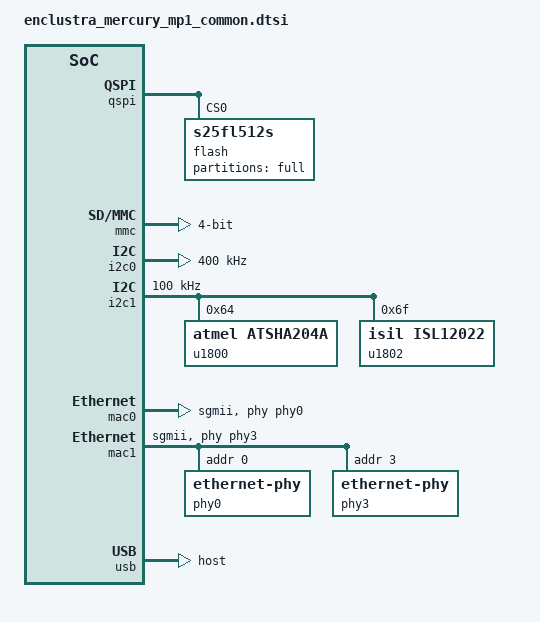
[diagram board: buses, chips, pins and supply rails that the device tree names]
// SPDX-License-Identifier: (GPL-2.0+ OR MIT)
/*
 * Copyright (C) 2022 Enclustra GmbH
 * <info@enclustra.com>
 */

#include "microchip-mpfs.dtsi"

/* Clock frequency (in Hz) of the rtcclk */
#define RTCCLK_FREQ		1000000

/ {
	compatible = "microchip,mpfs";

	aliases {
		mmuart1 = &mmuart1;
		ethernet0 = &mac1;
		ethernet1 = &mac0;
		i2c0 = &i2c0;
		i2c1 = &i2c1;
		spi0 = &qspi;
	};

	chosen {
		stdout-path = "mmuart1:115200n8";
	};

	cpus {
		timebase-frequency = <RTCCLK_FREQ>;
	};

	/* Not that label is called uart1 in U-Boot devicetree
	   but mmuart1 in kernel devicetree */
	soc {
		mmuart1: serial@20100000 {
			status = "okay";
		};
	};
};

&qspi {
	status = "okay";
	flash@0 {
		#address-cells = <0x1>;
		#size-cells = <0x1>;
		compatible = "s25fl512s";
		reg = <0x0>;
		partition@full {
			label = "full";
			reg = <0x0 0x4000000>;
		};
	};
};

&mmc {
	status = "okay";

	bus-width = <4>;
	disable-wp;
	no-1-8-v;
	cap-mmc-highspeed;
	cap-sd-highspeed;
	card-detect-delay = <200>;
};

/* FPGA Fabric I2C - this I2C bus is connected to the MSS I2C bus on hardware */
&i2c0 {
	status = "okay";
	clock-frequency = <400000>;
};

/* MSS I2C */
&i2c1 {
	status = "okay";
	clock-frequency = <100000>;

	u1800: atsha204a@64 {
		status = "okay";
		compatible = "atmel,atsha204a";
		reg = <0x64>;
	};

	u1802: isl12022@6f {
		status = "okay";
		compatible = "isil,isl12022";
		reg = <0x6f>;
	};
};

&mac0 {
	status = "okay";
	/delete-property/ mac-address;
	/delete-property/ local-mac-address;
	phy-mode = "sgmii";
	phy-handle = <&phy0>;
};

&mac1 {
	status = "okay";
	/delete-property/ mac-address;
	/delete-property/ local-mac-address;
	phy-mode = "sgmii";
	phy-handle = <&phy3>;

	phy0: ethernet-phy@0 {
		reg = <0>;
	};
	phy3: ethernet-phy@3 {
		reg = <3>;
	};
};

&usb {
	dr_mode = "host";
	status = "okay";
};

&gpio0 {
	status = "okay";
	ngpios = <14>;
	interrupts =   <PLIC_INT_GPIO0_BIT0_OR_GPIO2_BIT0
			PLIC_INT_GPIO0_BIT1_OR_GPIO2_BIT1
			PLIC_INT_GPIO0_BIT2_OR_GPIO2_BIT2
			PLIC_INT_GPIO0_BIT3_OR_GPIO2_BIT3
			PLIC_INT_GPIO0_BIT4_OR_GPIO2_BIT4
			PLIC_INT_GPIO0_BIT5_OR_GPIO2_BIT5
			PLIC_INT_GPIO0_BIT6_OR_GPIO2_BIT6
			PLIC_INT_GPIO0_BIT7_OR_GPIO2_BIT7
			PLIC_INT_GPIO0_BIT8_OR_GPIO2_BIT8
			PLIC_INT_GPIO0_BIT9_OR_GPIO2_BIT9
			PLIC_INT_GPIO0_BIT10_OR_GPIO2_BIT10
			PLIC_INT_GPIO0_BIT11_OR_GPIO2_BIT11
			PLIC_INT_GPIO0_BIT12_OR_GPIO2_BIT12
			PLIC_INT_GPIO0_BIT13_OR_GPIO2_BIT13>;
};

&gpio1 {
	status = "okay";
	ngpios = <24>;
	interrupts =   <PLIC_INT_GPIO1_BIT0_OR_GPIO2_BIT14
			PLIC_INT_GPIO1_BIT1_OR_GPIO2_BIT15
			PLIC_INT_GPIO1_BIT2_OR_GPIO2_BIT16
			PLIC_INT_GPIO1_BIT3_OR_GPIO2_BIT17
			PLIC_INT_GPIO1_BIT4_OR_GPIO2_BIT18
			PLIC_INT_GPIO1_BIT5_OR_GPIO2_BIT19
			PLIC_INT_GPIO1_BIT6_OR_GPIO2_BIT20
			PLIC_INT_GPIO1_BIT7_OR_GPIO2_BIT21
			PLIC_INT_GPIO1_BIT8_OR_GPIO2_BIT22
			PLIC_INT_GPIO1_BIT9_OR_GPIO2_BIT23
			PLIC_INT_GPIO1_BIT10_OR_GPIO2_BIT24
			PLIC_INT_GPIO1_BIT11_OR_GPIO2_BIT25
			PLIC_INT_GPIO1_BIT12_OR_GPIO2_BIT26
			PLIC_INT_GPIO1_BIT13_OR_GPIO2_BIT27
			PLIC_INT_GPIO1_BIT14_OR_GPIO2_BIT28
			PLIC_INT_GPIO1_BIT15_OR_GPIO2_BIT29
			PLIC_INT_GPIO1_BIT16_OR_GPIO2_BIT30
			PLIC_INT_GPIO1_BIT17_OR_GPIO2_BIT31
			PLIC_INT_GPIO1_BIT18
			PLIC_INT_GPIO1_BIT19
			PLIC_INT_GPIO1_BIT20
			PLIC_INT_GPIO1_BIT21
			PLIC_INT_GPIO1_BIT22
			PLIC_INT_GPIO1_BIT23>;
};
